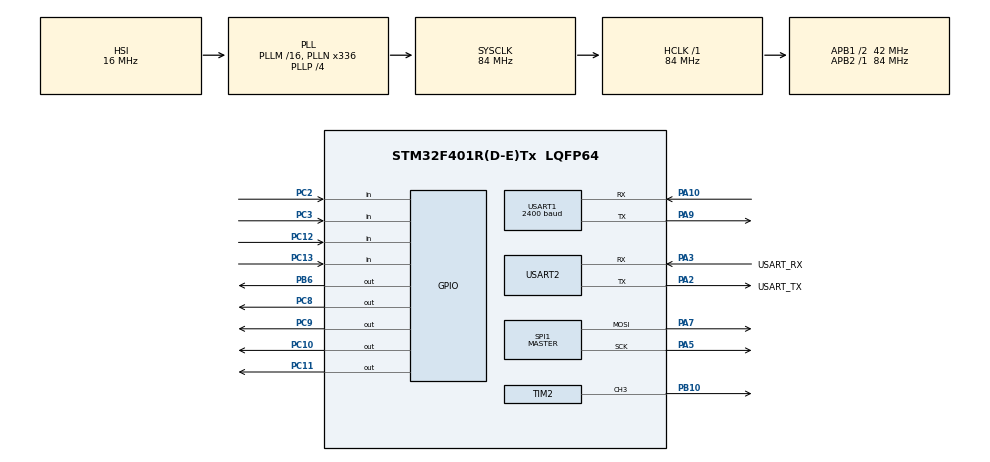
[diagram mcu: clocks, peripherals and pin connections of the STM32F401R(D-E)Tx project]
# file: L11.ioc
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Dma.Request0=USART2_TX
Dma.Request1=SPI1_TX
Dma.SPI1_TX.1.Direction=DMA_MEMORY_TO_PERIPH
Dma.SPI1_TX.1.FIFOMode=DMA_FIFOMODE_DISABLE
Dma.SPI1_TX.1.Instance=DMA2_Stream3
Dma.SPI1_TX.1.MemDataAlignment=DMA_MDATAALIGN_BYTE
Dma.SPI1_TX.1.MemInc=DMA_MINC_ENABLE
Dma.SPI1_TX.1.Mode=DMA_NORMAL
Dma.SPI1_TX.1.PeriphDataAlignment=DMA_PDATAALIGN_BYTE
Dma.SPI1_TX.1.PeriphInc=DMA_PINC_DISABLE
Dma.SPI1_TX.1.Priority=DMA_PRIORITY_LOW
Dma.USART2_TX.0.Direction=DMA_MEMORY_TO_PERIPH
Dma.USART2_TX.0.FIFOMode=DMA_FIFOMODE_DISABLE
Dma.USART2_TX.0.Instance=DMA1_Stream6
Dma.USART2_TX.0.MemDataAlignment=DMA_MDATAALIGN_BYTE
Dma.USART2_TX.0.MemInc=DMA_MINC_ENABLE
Dma.USART2_TX.0.Mode=DMA_NORMAL
Dma.USART2_TX.0.PeriphDataAlignment=DMA_PDATAALIGN_BYTE
Dma.USART2_TX.0.PeriphInc=DMA_PINC_DISABLE
Dma.USART2_TX.0.Priority=DMA_PRIORITY_LOW
Mcu.Family=STM32F4
Mcu.Name=STM32F401R(D-E)Tx
Mcu.Package=LQFP64
NVIC.DMA1_Stream6_IRQn=true\:1\:0\:true\:false\:true\:false\:true\:true
NVIC.DMA2_Stream3_IRQn=true\:0\:0\:false\:false\:true\:false\:true\:true
NVIC.PriorityGroup=NVIC_PRIORITYGROUP_1
NVIC.SPI1_IRQn=true\:0\:0\:false\:false\:true\:true\:true\:true
NVIC.TIM1_UP_TIM10_IRQn=true\:0\:0\:false\:false\:true\:true\:true\:true
NVIC.TIM3_IRQn=true\:1\:0\:true\:false\:true\:true\:true\:true
NVIC.TIM4_IRQn=true\:1\:0\:true\:false\:true\:true\:true\:true
NVIC.USART1_IRQn=true\:0\:0\:true\:false\:true\:true\:true\:true
NVIC.USART2_IRQn=true\:0\:0\:false\:false\:true\:true\:true\:true
PA10.Mode=Asynchronous
PA10.Signal=USART1_RX
PA13.GPIO_Label=TMS
PA13.Mode=Serial_Wire
PA13.Signal=SYS_JTMS-SWDIO
PA14.GPIO_Label=TCK
PA14.Mode=Serial_Wire
PA14.Signal=SYS_JTCK-SWCLK
PA2.GPIO_Label=USART_TX
PA2.GPIO_Mode=GPIO_MODE_AF_PP
PA2.GPIO_PuPd=GPIO_NOPULL
PA2.GPIO_Speed=GPIO_SPEED_FREQ_LOW
PA2.Mode=Asynchronous
PA2.Signal=USART2_TX
PA3.GPIO_Label=USART_RX
PA3.GPIO_Mode=GPIO_MODE_AF_PP
PA3.GPIO_PuPd=GPIO_NOPULL
PA3.GPIO_Speed=GPIO_SPEED_FREQ_LOW
PA3.Mode=Asynchronous
PA3.Signal=USART2_RX
PA5.Mode=TX_Only_Simplex_Unidirect_Master
PA5.Signal=SPI1_SCK
PA7.Mode=TX_Only_Simplex_Unidirect_Master
PA7.Signal=SPI1_MOSI
PA9.Mode=Asynchronous
PA9.Signal=USART1_TX
PB10.Signal=S_TIM2_CH3
PB3.GPIO_Label=SWO
PB3.Signal=SYS_JTDO-SWO
PB6.Signal=GPIO_Output
PC10.Signal=GPIO_Output
PC11.Signal=GPIO_Output
PC12.Signal=GPIO_Input
PC13-ANTI_TAMP.Signal=GPIO_Input
PC14-OSC32_IN.Mode=LSE-External-Oscillator
PC14-OSC32_IN.Signal=RCC_OSC32_IN
PC15-OSC32_OUT.Mode=LSE-External-Oscillator
PC15-OSC32_OUT.Signal=RCC_OSC32_OUT
PC2.Signal=GPIO_Input
PC3.Signal=GPIO_Input
PC8.Signal=GPIO_Output
PC9.Signal=GPIO_Output
PH0\ -\ OSC_IN.Mode=HSE-External-Clock-Source
PH0\ -\ OSC_IN.Signal=RCC_OSC_IN
PH1\ -\ OSC_OUT.Mode=HSE-External-Clock-Source
PH1\ -\ OSC_OUT.Signal=RCC_OSC_OUT
ProjectManager.HeapSize=0x200
ProjectManager.StackSize=0x400
ProjectManager.TargetToolchain=STM32CubeIDE
RCC.48MHZClocksFreq_Value=48000000
RCC.AHBFreq_Value=84000000
RCC.APB1CLKDivider=RCC_HCLK_DIV2
RCC.APB1Freq_Value=42000000
RCC.APB1TimFreq_Value=84000000
RCC.APB2Freq_Value=84000000
RCC.APB2TimFreq_Value=84000000
RCC.CortexFreq_Value=84000000
RCC.HCLKFreq_Value=84000000
RCC.HSE_VALUE=8000000
RCC.HSI_VALUE=16000000
RCC.PLLN=336
RCC.PLLP=RCC_PLLP_DIV4
RCC.PLLQ=7
RCC.SYSCLKFreq_VALUE=84000000
RCC.SYSCLKSource=RCC_SYSCLKSOURCE_PLLCLK
RCC.VCOOutputFreq_Value=336000000
SH.S_TIM2_CH3.0=TIM2_CH3,PWM Generation3 CH3
SPI1.BaudRatePrescaler=SPI_BAUDRATEPRESCALER_4
SPI1.Direction=SPI_DIRECTION_2LINES
SPI1.Mode=SPI_MODE_MASTER
SPI1.VirtualType=VM_MASTER
TIM1.Period=34999
TIM1.Prescaler=0
TIM2.Channel-PWM\ Generation3\ CH3=TIM_CHANNEL_3
TIM2.Period=2210
TIM2.Prescaler=0
TIM2.Pulse-PWM\ Generation3\ CH3=1105
TIM3.Period=39
TIM3.Prescaler=8399
TIM4.Period=19
TIM4.Prescaler=8399
USART1.BaudRate=2400
USART1.VirtualMode=VM_ASYNC
USART2.VirtualMode=VM_ASYNC
VP_TIM1_VS_ClockSourceINT.Mode=Internal
VP_TIM2_VS_ClockSourceINT.Mode=Internal
VP_TIM3_VS_ClockSourceINT.Mode=Internal
VP_TIM4_VS_ClockSourceINT.Mode=Internal
board=NUCLEO-F401RE

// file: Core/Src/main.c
/* USER CODE BEGIN Header */
/**
  ******************************************************************************
  * @file           : main.c
  * @brief          : Main program body
  ******************************************************************************
  * @attention
  *
  * Copyright (c) 2024 STMicroelectronics.
  * All rights reserved.
  *
  * This software is licensed under terms that can be found in the LICENSE file
  * in the root directory of this software component.
  * If no LICENSE file comes with this software, it is provided AS-IS.
  *
  ******************************************************************************
  */
/* USER CODE END Header */
#include "main.h"

/* USER CODE BEGIN Includes */
#include "string.h"
#include <stdio.h>
/* USER CODE END Includes */

SPI_HandleTypeDef hspi1;
DMA_HandleTypeDef hdma_spi1_tx;

TIM_HandleTypeDef htim1;
TIM_HandleTypeDef htim2;
TIM_HandleTypeDef htim3;
TIM_HandleTypeDef htim4;

UART_HandleTypeDef huart1;
UART_HandleTypeDef huart2;
DMA_HandleTypeDef hdma_usart2_tx;

/* USER CODE BEGIN PV */
// KB
uint8_t col = 0;	// current column to be read
GPIO_PinState prev[4][4] = {{GPIO_PIN_SET, GPIO_PIN_SET, GPIO_PIN_SET, GPIO_PIN_SET}, // transposed keyboard matrix of previous values
		{GPIO_PIN_SET, GPIO_PIN_SET, GPIO_PIN_SET, GPIO_PIN_SET},
		{GPIO_PIN_SET, GPIO_PIN_SET, GPIO_PIN_SET, GPIO_PIN_SET},
		{GPIO_PIN_SET, GPIO_PIN_SET, GPIO_PIN_SET, GPIO_PIN_SET}
};
GPIO_PinState prev2[4][4] = {{GPIO_PIN_SET, GPIO_PIN_SET, GPIO_PIN_SET, GPIO_PIN_SET}, // transposed keyboard matrix of the values read 2 cycles before
		{GPIO_PIN_SET, GPIO_PIN_SET, GPIO_PIN_SET, GPIO_PIN_SET},
		{GPIO_PIN_SET, GPIO_PIN_SET, GPIO_PIN_SET, GPIO_PIN_SET},
		{GPIO_PIN_SET, GPIO_PIN_SET, GPIO_PIN_SET, GPIO_PIN_SET}
};
GPIO_PinState col_activation[4][4] = {{GPIO_PIN_SET, GPIO_PIN_RESET, GPIO_PIN_RESET, GPIO_PIN_RESET}, // values to send to column GPIO pins for activation
		{GPIO_PIN_RESET, GPIO_PIN_SET, GPIO_PIN_RESET, GPIO_PIN_RESET},
		{GPIO_PIN_RESET, GPIO_PIN_RESET, GPIO_PIN_SET, GPIO_PIN_RESET},
		{GPIO_PIN_RESET, GPIO_PIN_RESET, GPIO_PIN_RESET, GPIO_PIN_SET}
};
char character[4][4] = {{'F', 'B', '7', '3'},	// character associated with each key
		{'E', 'A', '6', '2'},
		{'D', '9', '5', '1'},
		{'C', '8', '4', '0'}
};
//int BaudElapsedFlag = 0;

// LED
uint8_t matrix[5][2] = {
		{0, 16},
		{0, 8},
		{0, 4},
		{0, 2},
		{0, 1}
};

uint8_t matrix_QM[5][2] = {
		{32, 16},
		{64, 8},
		{69, 4},
		{72, 2},
		{48, 1}
};

uint8_t matrix_0[5][2] = {
		{62, 16},
		{113, 8},
		{73, 4},
		{71, 2},
		{62, 1}
};

uint8_t matrix_1[5][2] = {
		{16, 16},
		{33, 8},
		{127, 4},
		{1, 2},
		{0, 1}
};

uint8_t matrix_2[5][2] = {
		{33, 16},
		{67, 8},
		{69, 4},
		{73, 2},
		{49, 1}
};

uint8_t matrix_3[5][2] = {
		{34, 16},
		{65, 8},
		{73, 4},
		{73, 2},
		{54, 1}
};

uint8_t matrix_4[5][2] = {
		{120, 16},
		{8, 8},
		{8, 4},
		{8, 2},
		{127, 1}
};

uint8_t matrix_5[5][2] = {
		{114, 16},
		{81, 8},
		{81, 4},
		{81, 2},
		{14, 1}
};

uint8_t matrix_6[5][2] = {
		{62, 16},
		{73, 8},
		{73, 4},
		{73, 2},
		{38, 1}
};

uint8_t matrix_7[5][2] = {
		{64, 16},
		{64, 8},
		{79, 4},
		{80, 2},
		{96, 1}
};

uint8_t matrix_8[5][2] = {
		{54, 16},
		{73, 8},
		{73, 4},
		{73, 2},
		{54, 1}
};

uint8_t matrix_9[5][2] = {
		{50, 16},
		{73, 8},
		{73, 4},
		{73, 2},
		{62, 1}
};

uint8_t matrix_A[5][2] = {
		{31, 16},
		{36, 8},
		{68, 4},
		{36, 2},
		{31, 1}
};

uint8_t matrix_B[5][2] = {
		{127, 16},
		{73, 8},
		{73, 4},
		{73, 2},
		{54, 1}
};

uint8_t matrix_C[5][2] = {
		{62, 16},
		{65, 8},
		{65, 4},
		{65, 2},
		{34, 1}
};

uint8_t matrix_D[5][2] = {
		{127, 16},
		{65, 8},
		{65, 4},
		{65, 2},
		{62, 1}
};

uint8_t matrix_E[5][2] = {
		{127, 16},
		{73, 8},
		{73, 4},
		{73, 2},
		{73, 1}
};

uint8_t matrix_F[5][2] = {
		{127, 16},
		{72, 8},
		{72, 4},
		{72, 2},
		{72, 1}
};

uint8_t CharMAP[256][5][2];

// other
int index_col = 0;
int bit_ctr = 0;
uint8_t rx_byte;
uint8_t tx_byte;

/* USER CODE END PV */

void SystemClock_Config(void);
static void MX_GPIO_Init(void);
static void MX_DMA_Init(void);
static void MX_USART2_UART_Init(void);
static void MX_TIM1_Init(void);
static void MX_TIM2_Init(void);
static void MX_USART1_UART_Init(void);
static void MX_SPI1_Init(void);
static void MX_TIM3_Init(void);
static void MX_TIM4_Init(void);

/* USER CODE BEGIN 0 */
/*
void UART_IR_sendByte(char byte) {
	BaudElapsedFlag = 0;
	HAL_TIM_Base_Start_IT(&htim1);	// start baud rate timer
	HAL_TIM_PWM_Start(&htim2, TIM_CHANNEL_3); // send starting bit '0'
	while (BaudElapsedFlag == 0) {}
	for (int bit_ctr = 0; bit_ctr < 8; bit_ctr++) {
		if ((byte & (0x01<<bit_ctr)) == 0)
			HAL_TIM_PWM_Start(&htim2, TIM_CHANNEL_3); // send 0
		else
			HAL_TIM_PWM_Stop(&htim2, TIM_CHANNEL_3); // send 1
		BaudElapsedFlag = 0;
		while(BaudElapsedFlag == 0) {}
	}
	HAL_TIM_PWM_Stop(&htim2, TIM_CHANNEL_3); // send stop bit '1'
	while (BaudElapsedFlag == 0) {}
	HAL_TIM_Base_Stop_IT(&htim1);
	BaudElapsedFlag = 0;
}*/

void initCharMAP() {
	for (int i = 0; i < 256; i++) {
		memcpy(CharMAP[i], matrix_QM, sizeof(matrix_QM));
	}
	memcpy(CharMAP[(uint8_t) '0'], matrix_0, sizeof(matrix_0));
	memcpy(CharMAP[(uint8_t) '1'], matrix_1, sizeof(matrix_1));
	memcpy(CharMAP[(uint8_t) '2'], matrix_2, sizeof(matrix_2));
	memcpy(CharMAP[(uint8_t) '3'], matrix_3, sizeof(matrix_3));
	memcpy(CharMAP[(uint8_t) '4'], matrix_4, sizeof(matrix_4));
	memcpy(CharMAP[(uint8_t) '5'], matrix_5, sizeof(matrix_5));
	memcpy(CharMAP[(uint8_t) '6'], matrix_6, sizeof(matrix_6));
	memcpy(CharMAP[(uint8_t) '7'], matrix_7, sizeof(matrix_7));
	memcpy(CharMAP[(uint8_t) '8'], matrix_8, sizeof(matrix_8));
	memcpy(CharMAP[(uint8_t) '9'], matrix_9, sizeof(matrix_9));
	memcpy(CharMAP[(uint8_t) 'A'], matrix_A, sizeof(matrix_A));
	memcpy(CharMAP[(uint8_t) 'B'], matrix_B, sizeof(matrix_B));
	memcpy(CharMAP[(uint8_t) 'C'], matrix_C, sizeof(matrix_C));
	memcpy(CharMAP[(uint8_t) 'D'], matrix_D, sizeof(matrix_D));
	memcpy(CharMAP[(uint8_t) 'E'], matrix_E, sizeof(matrix_E));
	memcpy(CharMAP[(uint8_t) 'F'], matrix_F, sizeof(matrix_F));
}

void showletter(char digit) {
	memcpy(matrix, CharMAP[(uint8_t) digit], sizeof(matrix));

	/* Debug code
	char string[64];
	int length = snprintf(string, sizeof(string), "%d\n", digit);

	HAL_UART_Transmit_DMA(&huart2, string, length);*/
}
/* USER CODE END 0 */

int main(void)
{

  /* MCU Configuration--------------------------------------------------------*/

  /* Reset of all peripherals, Initializes the Flash interface and the Systick. */
  HAL_Init();

  /* Configure the system clock */
  SystemClock_Config();

  /* Initialize all configured peripherals */
  MX_GPIO_Init();
  MX_DMA_Init();
  MX_USART2_UART_Init();
  MX_TIM1_Init();
  MX_TIM2_Init();
  MX_USART1_UART_Init();
  MX_SPI1_Init();
  MX_TIM3_Init();
  MX_TIM4_Init();
  /* USER CODE BEGIN 2 */

  initCharMAP();
  HAL_GPIO_WritePin(GPIOC, GPIO_PIN_11, col_activation[col][0]);
  HAL_GPIO_WritePin(GPIOC, GPIO_PIN_10, col_activation[col][1]);
  HAL_GPIO_WritePin(GPIOC, GPIO_PIN_9, col_activation[col][2]);
  HAL_GPIO_WritePin(GPIOC, GPIO_PIN_8, col_activation[col][3]);

  HAL_TIM_Base_Start_IT(&htim3);
  //HAL_TIM_Base_Start_IT(&htim4); // separate timer for led matrix (not necessary)

  HAL_UART_Receive_IT(&huart1, &rx_byte, 1);
  //HAL_UARTEx_ReceiveToIdle_IT(&huart1, &rx_byte, 2);
  /* USER CODE END 2 */

  /* Infinite loop */
  while (1)
  {

  }
}

void SystemClock_Config(void)
{
  RCC_OscInitTypeDef RCC_OscInitStruct = {0};
  RCC_ClkInitTypeDef RCC_ClkInitStruct = {0};

  /** Configure the main internal regulator output voltage
  */
  __HAL_RCC_PWR_CLK_ENABLE();
  __HAL_PWR_VOLTAGESCALING_CONFIG(PWR_REGULATOR_VOLTAGE_SCALE2);

  /** Initializes the RCC Oscillators according to the specified parameters
  * in the RCC_OscInitTypeDef structure.
  */
  RCC_OscInitStruct.OscillatorType = RCC_OSCILLATORTYPE_HSI;
  RCC_OscInitStruct.HSIState = RCC_HSI_ON;
  RCC_OscInitStruct.HSICalibrationValue = RCC_HSICALIBRATION_DEFAULT;
  RCC_OscInitStruct.PLL.PLLState = RCC_PLL_ON;
  RCC_OscInitStruct.PLL.PLLSource = RCC_PLLSOURCE_HSI;
  RCC_OscInitStruct.PLL.PLLM = 16;
  RCC_OscInitStruct.PLL.PLLN = 336;
  RCC_OscInitStruct.PLL.PLLP = RCC_PLLP_DIV4;
  RCC_OscInitStruct.PLL.PLLQ = 7;
  if (HAL_RCC_OscConfig(&RCC_OscInitStruct) != HAL_OK)
  {
    Error_Handler();
  }

  /** Initializes the CPU, AHB and APB buses clocks
  */
  RCC_ClkInitStruct.ClockType = RCC_CLOCKTYPE_HCLK|RCC_CLOCKTYPE_SYSCLK
                              |RCC_CLOCKTYPE_PCLK1|RCC_CLOCKTYPE_PCLK2;
  RCC_ClkInitStruct.SYSCLKSource = RCC_SYSCLKSOURCE_PLLCLK;
  RCC_ClkInitStruct.AHBCLKDivider = RCC_SYSCLK_DIV1;
  RCC_ClkInitStruct.APB1CLKDivider = RCC_HCLK_DIV2;
  RCC_ClkInitStruct.APB2CLKDivider = RCC_HCLK_DIV1;

  if (HAL_RCC_ClockConfig(&RCC_ClkInitStruct, FLASH_LATENCY_2) != HAL_OK)
  {
    Error_Handler();
  }
}

static void MX_SPI1_Init(void)
{

  /* SPI1 parameter configuration*/
  hspi1.Instance = SPI1;
  hspi1.Init.Mode = SPI_MODE_MASTER;
  hspi1.Init.Direction = SPI_DIRECTION_2LINES;
  hspi1.Init.DataSize = SPI_DATASIZE_8BIT;
  hspi1.Init.CLKPolarity = SPI_POLARITY_LOW;
  hspi1.Init.CLKPhase = SPI_PHASE_1EDGE;
  hspi1.Init.NSS = SPI_NSS_SOFT;
  hspi1.Init.BaudRatePrescaler = SPI_BAUDRATEPRESCALER_4;
  hspi1.Init.FirstBit = SPI_FIRSTBIT_MSB;
  hspi1.Init.TIMode = SPI_TIMODE_DISABLE;
  hspi1.Init.CRCCalculation = SPI_CRCCALCULATION_DISABLE;
  hspi1.Init.CRCPolynomial = 10;
  if (HAL_SPI_Init(&hspi1) != HAL_OK)
  {
    Error_Handler();
  }

}

static void MX_TIM1_Init(void)
{

  TIM_ClockConfigTypeDef sClockSourceConfig = {0};
  TIM_MasterConfigTypeDef sMasterConfig = {0};

  htim1.Instance = TIM1;
  htim1.Init.Prescaler = 0;
  htim1.Init.CounterMode = TIM_COUNTERMODE_UP;
  htim1.Init.Period = 34999;
  htim1.Init.ClockDivision = TIM_CLOCKDIVISION_DIV1;
  htim1.Init.RepetitionCounter = 0;
  htim1.Init.AutoReloadPreload = TIM_AUTORELOAD_PRELOAD_DISABLE;
  if (HAL_TIM_Base_Init(&htim1) != HAL_OK)
  {
    Error_Handler();
  }
  sClockSourceConfig.ClockSource = TIM_CLOCKSOURCE_INTERNAL;
  if (HAL_TIM_ConfigClockSource(&htim1, &sClockSourceConfig) != HAL_OK)
  {
    Error_Handler();
  }
  sMasterConfig.MasterOutputTrigger = TIM_TRGO_RESET;
  sMasterConfig.MasterSlaveMode = TIM_MASTERSLAVEMODE_DISABLE;
  if (HAL_TIMEx_MasterConfigSynchronization(&htim1, &sMasterConfig) != HAL_OK)
  {
    Error_Handler();
  }

}

static void MX_TIM2_Init(void)
{

  TIM_ClockConfigTypeDef sClockSourceConfig = {0};
  TIM_MasterConfigTypeDef sMasterConfig = {0};
  TIM_OC_InitTypeDef sConfigOC = {0};

  htim2.Instance = TIM2;
  htim2.Init.Prescaler = 0;
  htim2.Init.CounterMode = TIM_COUNTERMODE_UP;
  htim2.Init.Period = 2210;
  htim2.Init.ClockDivision = TIM_CLOCKDIVISION_DIV1;
  htim2.Init.AutoReloadPreload = TIM_AUTORELOAD_PRELOAD_DISABLE;
  if (HAL_TIM_Base_Init(&htim2) != HAL_OK)
  {
    Error_Handler();
  }
  sClockSourceConfig.ClockSource = TIM_CLOCKSOURCE_INTERNAL;
  if (HAL_TIM_ConfigClockSource(&htim2, &sClockSourceConfig) != HAL_OK)
  {
    Error_Handler();
  }
  if (HAL_TIM_PWM_Init(&htim2) != HAL_OK)
  {
    Error_Handler();
  }
  sMasterConfig.MasterOutputTrigger = TIM_TRGO_RESET;
  sMasterConfig.MasterSlaveMode = TIM_MASTERSLAVEMODE_DISABLE;
  if (HAL_TIMEx_MasterConfigSynchronization(&htim2, &sMasterConfig) != HAL_OK)
  {
    Error_Handler();
  }
  sConfigOC.OCMode = TIM_OCMODE_PWM1;
  sConfigOC.Pulse = 1105;
  sConfigOC.OCPolarity = TIM_OCPOLARITY_HIGH;
  sConfigOC.OCFastMode = TIM_OCFAST_DISABLE;
  if (HAL_TIM_PWM_ConfigChannel(&htim2, &sConfigOC, TIM_CHANNEL_3) != HAL_OK)
  {
    Error_Handler();
  }
  HAL_TIM_MspPostInit(&htim2);

}

static void MX_TIM3_Init(void)
{

  TIM_ClockConfigTypeDef sClockSourceConfig = {0};
  TIM_MasterConfigTypeDef sMasterConfig = {0};

  htim3.Instance = TIM3;
  htim3.Init.Prescaler = 8399;
  htim3.Init.CounterMode = TIM_COUNTERMODE_UP;
  htim3.Init.Period = 39;
  htim3.Init.ClockDivision = TIM_CLOCKDIVISION_DIV1;
  htim3.Init.AutoReloadPreload = TIM_AUTORELOAD_PRELOAD_DISABLE;
  if (HAL_TIM_Base_Init(&htim3) != HAL_OK)
  {
    Error_Handler();
  }
  sClockSourceConfig.ClockSource = TIM_CLOCKSOURCE_INTERNAL;
  if (HAL_TIM_ConfigClockSource(&htim3, &sClockSourceConfig) != HAL_OK)
  {
    Error_Handler();
  }
  sMasterConfig.MasterOutputTrigger = TIM_TRGO_RESET;
  sMasterConfig.MasterSlaveMode = TIM_MASTERSLAVEMODE_DISABLE;
  if (HAL_TIMEx_MasterConfigSynchronization(&htim3, &sMasterConfig) != HAL_OK)
  {
    Error_Handler();
  }

}

static void MX_TIM4_Init(void)
{

  TIM_ClockConfigTypeDef sClockSourceConfig = {0};
  TIM_MasterConfigTypeDef sMasterConfig = {0};

  htim4.Instance = TIM4;
  htim4.Init.Prescaler = 8399;
  htim4.Init.CounterMode = TIM_COUNTERMODE_UP;
  htim4.Init.Period = 19;
  htim4.Init.ClockDivision = TIM_CLOCKDIVISION_DIV1;
  htim4.Init.AutoReloadPreload = TIM_AUTORELOAD_PRELOAD_DISABLE;
  if (HAL_TIM_Base_Init(&htim4) != HAL_OK)
  {
    Error_Handler();
  }
  sClockSourceConfig.ClockSource = TIM_CLOCKSOURCE_INTERNAL;
  if (HAL_TIM_ConfigClockSource(&htim4, &sClockSourceConfig) != HAL_OK)
  {
    Error_Handler();
  }
  sMasterConfig.MasterOutputTrigger = TIM_TRGO_RESET;
  sMasterConfig.MasterSlaveMode = TIM_MASTERSLAVEMODE_DISABLE;
  if (HAL_TIMEx_MasterConfigSynchronization(&htim4, &sMasterConfig) != HAL_OK)
  {
    Error_Handler();
  }

}

static void MX_USART1_UART_Init(void)
{

  huart1.Instance = USART1;
  huart1.Init.BaudRate = 2400;
  huart1.Init.WordLength = UART_WORDLENGTH_8B;
  huart1.Init.StopBits = UART_STOPBITS_1;
  huart1.Init.Parity = UART_PARITY_NONE;
  huart1.Init.Mode = UART_MODE_TX_RX;
  huart1.Init.HwFlowCtl = UART_HWCONTROL_NONE;
  huart1.Init.OverSampling = UART_OVERSAMPLING_16;
  if (HAL_UART_Init(&huart1) != HAL_OK)
  {
    Error_Handler();
  }

}

static void MX_USART2_UART_Init(void)
{

  huart2.Instance = USART2;
  huart2.Init.BaudRate = 115200;
  huart2.Init.WordLength = UART_WORDLENGTH_8B;
  huart2.Init.StopBits = UART_STOPBITS_1;
  huart2.Init.Parity = UART_PARITY_NONE;
  huart2.Init.Mode = UART_MODE_TX_RX;
  huart2.Init.HwFlowCtl = UART_HWCONTROL_NONE;
  huart2.Init.OverSampling = UART_OVERSAMPLING_16;
  if (HAL_UART_Init(&huart2) != HAL_OK)
  {
    Error_Handler();
  }

}

static void MX_DMA_Init(void)
{

  /* DMA controller clock enable */
  __HAL_RCC_DMA1_CLK_ENABLE();
  __HAL_RCC_DMA2_CLK_ENABLE();

  /* DMA interrupt init */
  /* DMA1_Stream6_IRQn interrupt configuration */
  HAL_NVIC_SetPriority(DMA1_Stream6_IRQn, 1, 0);
  HAL_NVIC_EnableIRQ(DMA1_Stream6_IRQn);
  /* DMA2_Stream3_IRQn interrupt configuration */
  HAL_NVIC_SetPriority(DMA2_Stream3_IRQn, 0, 0);
  HAL_NVIC_EnableIRQ(DMA2_Stream3_IRQn);

}

static void MX_GPIO_Init(void)
{
  GPIO_InitTypeDef GPIO_InitStruct = {0};

  /* GPIO Ports Clock Enable */
  __HAL_RCC_GPIOC_CLK_ENABLE();
  __HAL_RCC_GPIOH_CLK_ENABLE();
  __HAL_RCC_GPIOA_CLK_ENABLE();
  __HAL_RCC_GPIOB_CLK_ENABLE();

  /*Configure GPIO pin Output Level */
  HAL_GPIO_WritePin(GPIOC, GPIO_PIN_8|GPIO_PIN_9|GPIO_PIN_10|GPIO_PIN_11, GPIO_PIN_RESET);

  /*Configure GPIO pin Output Level */
  HAL_GPIO_WritePin(GPIOB, GPIO_PIN_6, GPIO_PIN_RESET);

  /*Configure GPIO pins : PC13 PC2 PC3 PC12 */
  GPIO_InitStruct.Pin = GPIO_PIN_13|GPIO_PIN_2|GPIO_PIN_3|GPIO_PIN_12;
  GPIO_InitStruct.Mode = GPIO_MODE_INPUT;
  GPIO_InitStruct.Pull = GPIO_NOPULL;
  HAL_GPIO_Init(GPIOC, &GPIO_InitStruct);

  /*Configure GPIO pins : PC8 PC9 PC10 PC11 */
  GPIO_InitStruct.Pin = GPIO_PIN_8|GPIO_PIN_9|GPIO_PIN_10|GPIO_PIN_11;
  GPIO_InitStruct.Mode = GPIO_MODE_OUTPUT_PP;
  GPIO_InitStruct.Pull = GPIO_NOPULL;
  GPIO_InitStruct.Speed = GPIO_SPEED_FREQ_LOW;
  HAL_GPIO_Init(GPIOC, &GPIO_InitStruct);

  /*Configure GPIO pin : PB6 */
  GPIO_InitStruct.Pin = GPIO_PIN_6;
  GPIO_InitStruct.Mode = GPIO_MODE_OUTPUT_PP;
  GPIO_InitStruct.Pull = GPIO_NOPULL;
  GPIO_InitStruct.Speed = GPIO_SPEED_FREQ_LOW;
  HAL_GPIO_Init(GPIOB, &GPIO_InitStruct);

}

/* USER CODE BEGIN 4 */
void HAL_TIM_PeriodElapsedCallback(TIM_HandleTypeDef *htim) {
	// Blocking mode
	/*if (htim->Instance == htim1.Instance) {
		BaudElapsedFlag = 1;
	}*/

	if (htim->Instance == htim1.Instance) {
		if (bit_ctr < 8) {
			if ((tx_byte & (0x01<<bit_ctr)) == 0)
				HAL_TIM_PWM_Start(&htim2, TIM_CHANNEL_3); // send 0
			else
				HAL_TIM_PWM_Stop(&htim2, TIM_CHANNEL_3); // send 1
			bit_ctr++;
		} else if (bit_ctr == 8) {
			HAL_TIM_PWM_Stop(&htim2, TIM_CHANNEL_3); // send stop bit '1'
			bit_ctr++;
		} else {
			HAL_TIM_Base_Stop_IT(&htim1);
			bit_ctr = 0;
		}
	}

	if (htim->Instance == TIM3) {
		HAL_SPI_Transmit_DMA(&hspi1, matrix[index_col], 2); // if using only one timer

		GPIO_PinState r[4]; // values read on each row
		r[0] = HAL_GPIO_ReadPin(GPIOC, GPIO_PIN_3);
		r[1] = HAL_GPIO_ReadPin(GPIOC, GPIO_PIN_2);
		r[2] = HAL_GPIO_ReadPin(GPIOC, GPIO_PIN_13);
		r[3] = HAL_GPIO_ReadPin(GPIOC, GPIO_PIN_12);
		for (int i = 0; i < 4; i++) { // iterate through rows
			if (r[i] == GPIO_PIN_RESET && prev[col][i] == GPIO_PIN_RESET && prev2[col][i] == GPIO_PIN_SET) { // requires key to be held for 1 full cycle (16ms) before input is processed to prevent bouncing effects
				tx_byte = character[col][i];
				HAL_TIM_Base_Start_IT(&htim1); // start baud rate timer
				HAL_TIM_PWM_Start(&htim2, TIM_CHANNEL_3); // send starting bit '0'

				// Blocking mode
				//UART_IR_sendByte(character[col][i]);
			}
			prev2[col][i] = prev[col][i]; // update previous values matrices
			prev[col][i] = r[i];
		}
		col = (col + 1) % 4; // iterate through columns
		HAL_GPIO_WritePin(GPIOC, GPIO_PIN_11, col_activation[col][0]);
		HAL_GPIO_WritePin(GPIOC, GPIO_PIN_10, col_activation[col][1]);
		HAL_GPIO_WritePin(GPIOC, GPIO_PIN_9, col_activation[col][2]);
		HAL_GPIO_WritePin(GPIOC, GPIO_PIN_8, col_activation[col][3]);
	}

	/*if (htim->Instance == TIM4) {
		HAL_SPI_Transmit_DMA(&hspi1, matrix[index_col], 2);
	}*/
}

void HAL_SPI_TxCpltCallback(SPI_HandleTypeDef *hspi) {
	index_col = (index_col + 1) % 5; // circularly iterate column
	HAL_GPIO_WritePin(GPIOB, GPIO_PIN_6, GPIO_PIN_SET);		// set and quickly reset RCLK to send data from serial registers to LED matrix
	HAL_GPIO_WritePin(GPIOB, GPIO_PIN_6, GPIO_PIN_RESET);
}

void HAL_UART_RxCpltCallback(UART_HandleTypeDef *huart) {
 	if (huart == &huart1) {
		HAL_UART_Receive_IT(&huart1, &rx_byte, 1);
		showletter(rx_byte);
	}
}

/*
void HAL_UARTEx_RxEventCallback(UART_HandleTypeDef *huart, uint16_t Size) {
	if (huart == &huart1) {
		HAL_UARTEx_ReceiveToIdle_IT(&huart1, &rx_byte, 1);
		showletter(rx_byte);
	}
}*/
/* USER CODE END 4 */

void Error_Handler(void)
{
  __disable_irq();
  while (1)
  {
  }
}
